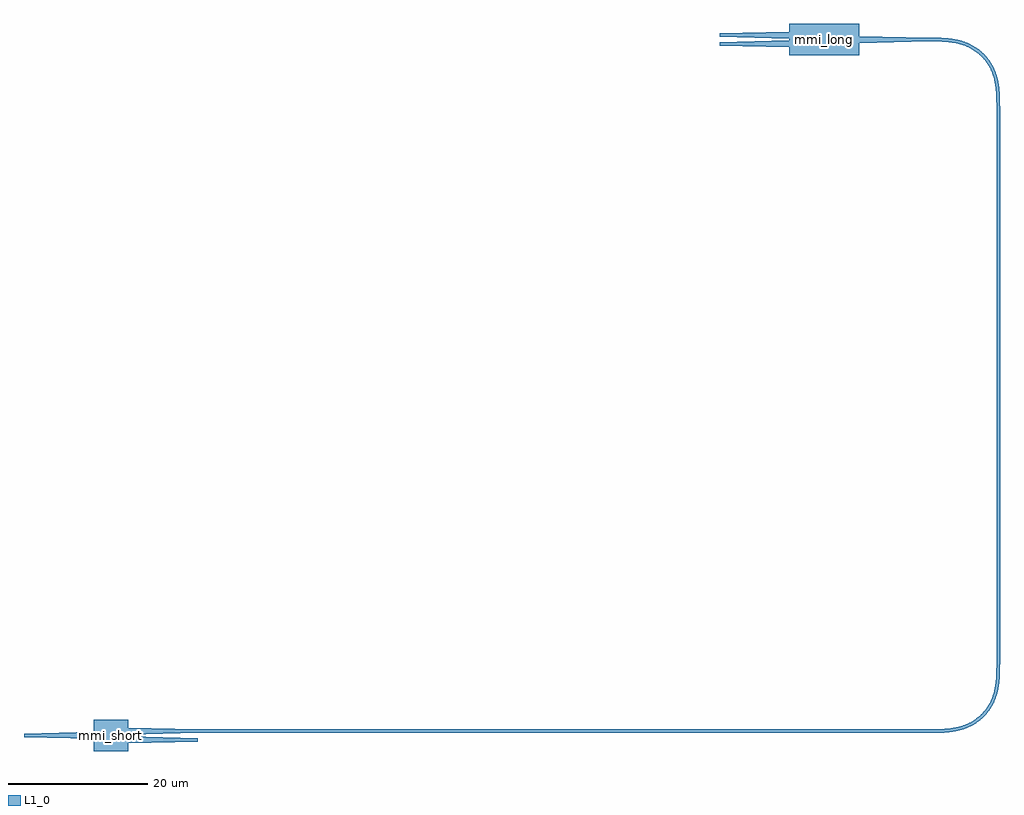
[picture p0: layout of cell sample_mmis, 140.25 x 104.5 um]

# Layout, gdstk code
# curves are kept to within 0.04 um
from math import pi, radians
import gdstk
lib = gdstk.Library(unit=1e-6, precision=1e-09)
def R(c, l, rs):  # rectangles x0, y0, x1, y1
    for r in rs: c.add(gdstk.rectangle(r[:2], r[2:], *l))
def P(c, l, *ps):  # polygons
    for p in ps: c.add(gdstk.Polygon(p, *l))
L1_0 = (1, 0)

bend_euler_rnone_a90_p0p = lib.new_cell('bend_euler_RNone_A90_P0p5_WAFTrue_NNone_LNone_WNone_Dccw_CSxs_34e31a19')
P(bend_euler_rnone_a90_p0p, L1_0, [(0,-0.25),(0,0.25),(1.655,0.269),(2.881,0.353),(3.952,0.52),(4.99,0.806),(5.731,1.113),(6.431,1.505),(7.575,2.425),(8.495,3.569),(8.887,4.269),(9.194,5.01),(9.48,6.048),(9.647,7.119),(9.731,8.345),(9.75,10),(10.25,10),(10.158,7.205),(10.023,6.224),(9.797,5.254),(9.457,4.312),(9.066,3.545),(8.5,2.715),(7.928,2.072),(7.285,1.5),(6.455,0.934),(5.688,0.543),(4.746,0.203),(3.776,-0.023),(2.795,-0.158)])

straight_l105_n2_csxs_34 = lib.new_cell('straight_L105_N2_CSxs_34e31a19_W0p5')
R(straight_l105_n2_csxs_34, L1_0, [(0,-0.25,105,0.25)])

straight_l79p375_n2_csxs = lib.new_cell('straight_L79p375_N2_CSxs_34e31a19_W0p5')
R(straight_l79p375_n2_csxs, L1_0, [(0,-0.25,79.375,0.25)])

mmi1x2_wnone_wt1_lt10_lm = lib.new_cell('mmi1x2_WNone_WT1_LT10_LM5_WM4p5_GM0p25_Ttaper_Sstraight_CSxs_sc')
P(mmi1x2_wnone_wt1_lt10_lm, L1_0, [(0,-2.25),(0,-0.5),(-10,-0.25),(-10,0.25),(0,0.5),(0,2.25),(5,2.25),(5,1.125),(15,0.875),(15,0.375),(5,0.125),(5,-0.125),(15,-0.375),(15,-0.875),(5,-1.125),(5,-2.25)])

c_mmi1x2_wnone_wt1_lt10_lm = lib.new_cell('mmi1x2_WNone_WT1_LT10_LM10_WM4p5_GM0p25_Ttaper_Sstraight_CSxs_sc')
P(c_mmi1x2_wnone_wt1_lt10_lm, L1_0, [(0,-2.25),(0,-0.5),(-10,-0.25),(-10,0.25),(0,0.5),(0,2.25),(10,2.25),(10,1.125),(20,0.875),(20,0.375),(10,0.125),(10,-0.125),(20,-0.375),(20,-0.875),(10,-1.125),(10,-2.25)])

sample_mmis = lib.new_cell('sample_mmis')
sample_mmis.add(gdstk.Reference(bend_euler_rnone_a90_p0p, (130,10.625), rotation=3*pi/2, x_reflection=True))
sample_mmis.add(gdstk.Reference(straight_l105_n2_csxs_34, (120,0.625), rotation=pi, x_reflection=True))
sample_mmis.add(gdstk.Reference(bend_euler_rnone_a90_p0p, (120,100), x_reflection=True))
sample_mmis.add(gdstk.Reference(straight_l79p375_n2_csxs, (130,90), rotation=3*pi/2, x_reflection=True))
sample_mmis.add(gdstk.Reference(mmi1x2_wnone_wt1_lt10_lm, (0,0)))
sample_mmis.add(gdstk.Reference(c_mmi1x2_wnone_wt1_lt10_lm, (110,100), rotation=pi))
sample_mmis.add(gdstk.Label('mmi_short', (2.5,0), layer=206, texttype=0))
sample_mmis.add(gdstk.Label('mmi_long', (105,100), layer=206, texttype=0))

lib.write_gds('sample_mmis.gds')
